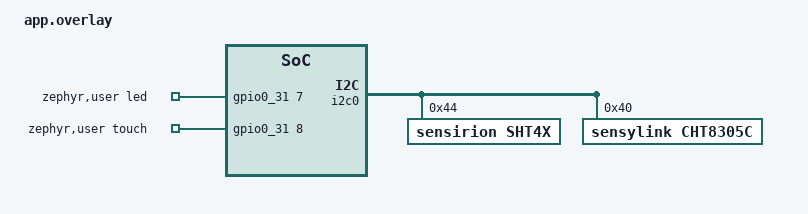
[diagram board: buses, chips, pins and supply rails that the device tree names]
/*
 * jkcare application devicetree overlay.
 *
 * UART0 and I2C0 are board-level hardware and are defined in
 * boards/ambiq/jkcare_apollo4p_blue/jkcare_apollo4p_blue.dts.
 * Add application-specific peripherals here later.
 */

#include <zephyr/dt-bindings/gpio/gpio.h>

/ {
	/*
	 * Temporary GPIO assignments; update these two pin numbers according
	 * to the JKCare schematic.
	 */
	zephyr,user {
		led-gpios = <&gpio0_31 7 GPIO_ACTIVE_HIGH>;
		touch-gpios = <&gpio0_31 8 (GPIO_PULL_DOWN | GPIO_ACTIVE_HIGH)>;
	};
};

&i2c0 {
    status = "okay";

    sht4x: sht4x@44 {
        compatible = "sensirion,sht4x";
        reg = <0x44>;
        repeatability = <2>;
        status = "okay";
    };

	/*
	 * Example out-of-tree sensor driver. CHT8305C defaults to 0x40 when
	 * AD0 is connected to GND or left floating.
	 */
	cht8305c: humidity-sensor@40 {
		compatible = "sensylink,cht8305c";
		reg = <0x40>;
		status = "okay";
	};
};
